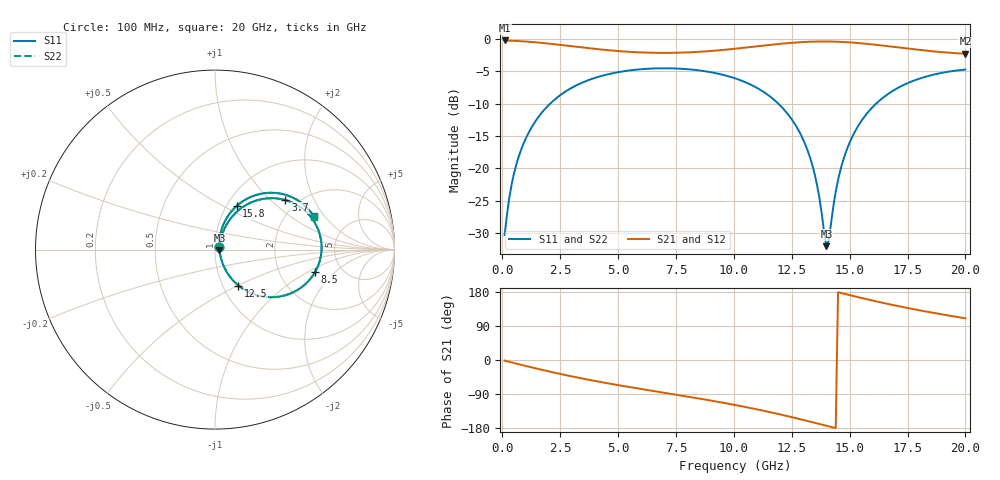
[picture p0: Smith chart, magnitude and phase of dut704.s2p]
! Touchstone file exported from HFSS 2026.1.0
!  File:  C:/ffzhzh/LocalFiles/Ansys_Project_Files/temp_train_TSV_RDL_704_1783199045_18472.aedt
!  Generated:  05:15:40 AM Jul  5, 2026
!  Design:  TSV_RDL
!  Project:  temp_train_TSV_RDL_704_1783199045_18472
! Variables:
!  h_bsmrdl = 2.39um
!  h_ox = 20um
!  h_rdl = 5um
!  h_sub = 82.53um
!  h_tmrdl = 3.41um
!  h_tsv = 82.53um
!  h_via = 3um
!  l_bsmrdl = 698.06um
!  l_sub = 4019.1um
!  l_tmrdl = 353.42um
!  m_sub = 200um
!  pitch = 59.37um
!  r_tsv = 12.72um
!  s_tmrdl = 10um
!  w_bsmrdl = 23.5um
!  w_sub = 500um
!  w_tmrdl = 13.58um
!  x_tsv_center1 = 360.21um
!  x_tsv_center2 = 1081.77um
!  x_tsv_center3 = 1448.77um
!  x_tsv_center4 = 2170.33um
!  x_tsv_center5 = 2537.33um
!  x_tsv_center6 = 3258.89um
# GHz S MA R 50.000000
! Terminal data exported
! Port[1] = TM_RDL1_1_T1
! Port[2] = TM_RDL5_1_T1
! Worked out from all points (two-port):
!   200 points, 100 MHz to 20 GHz, reference 50 ohm
!   highest |S21| = -0.22 dB at 100 MHz (marker M1); lowest = -2.3 dB at 20 GHz (marker M2)
!   |S21| within 3 dB of the highest: start of sweep to end of sweep
!   lowest |S11| = -32.1 dB at 14 GHz (marker M3), VSWR 1.05, Z = 52.6 - j0.183 ohm
!   |S11| at or under -10 dB: start of sweep to 2.065 GHz; 11.92 GHz to 16.14 GHz (4.221 GHz wide, 30.1 % of centre)
!   |S22| runs from -31.9 to -4.5 dB; largest |S21 - S12| = 1.7e-14
!   S11 on the Smith chart (normalised r, x): 100 MHz: 1.05, +0.04; 3.7 GHz: 1.73, +1.24; 8.5 GHz: 3.20, -1.17; 12.5 GHz: 1.18, -0.50; 15.8 GHz: 1.11, +0.59; 20 GHz: 2.81, +1.56
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0.1  0.03034 34.4  0.9753 -1.6  0.9753 -1.6  0.03034 34.4
! Gamma 0 0 0 0
! Port Impedance 50 0 50 0
0.3  0.05867 59.2  0.9729 -4.8  0.9729 -4.8  0.05867 59.2
0.5  0.09029 64.6  0.9692 -7.9  0.9692 -7.9  0.09029 64.6
1.1  0.1829 63.9  0.9545 -17.0  0.9545 -17.0  0.1829 63.9
2.1  0.3207 53.5  0.9185 -31.3  0.9185 -31.3  0.3207 53.5
3.5  0.4639 37.4  0.859 -49.4  0.859 -49.4  0.4639 37.4
3.7  0.4794 35.2  0.851 -51.8  0.851 -51.8  0.4794 35.2
6.8  0.5937 3.9  0.7817 -84.5  0.7817 -84.5  0.5937 4.0
8.5  0.572 -12.5  0.7969 -101.6  0.7969 -101.6  0.572 -12.4
10.1  0.4934 -29.1  0.8434 -119.2  0.8434 -119.2  0.4934 -29.1
11.5  0.3665 -45.2  0.8991 -136.8  0.8991 -136.8  0.3666 -45.2
12.5  0.2392 -56.9  0.9353 -150.8  0.9353 -150.8  0.2392 -56.8
13.4  0.1042 -62.3  0.9549 -164.3  0.9549 -164.3  0.1043 -62.0
13.7  0.0583 -55.4  0.9574 -168.9  0.9574 -168.9  0.05849 -55.0
14  0.02497 -4.0  0.9577 -173.5  0.9577 -173.5  0.02546 -3.8
14.1  0.02761 30.3  0.9573 -175.1  0.9573 -175.1  0.02807 29.8
14.4  0.06596 67.1  0.9545 -179.7  0.9545 -179.7  0.06617 66.7
14.7  0.1119 71.8  0.9496 175.7  0.9496 175.7  0.1121 71.6
15.8  0.2723 63.6  0.9161 159.5  0.9161 159.5  0.2723 63.5
16.7  0.3802 53.1  0.8785 147.3  0.8785 147.3  0.3803 53.1
18.2  0.5062 36.4  0.8169 129.1  0.8169 129.1  0.5062 36.4
20  0.5806 18.5  0.7702 110.0  0.7702 110.0  0.5807 18.5
